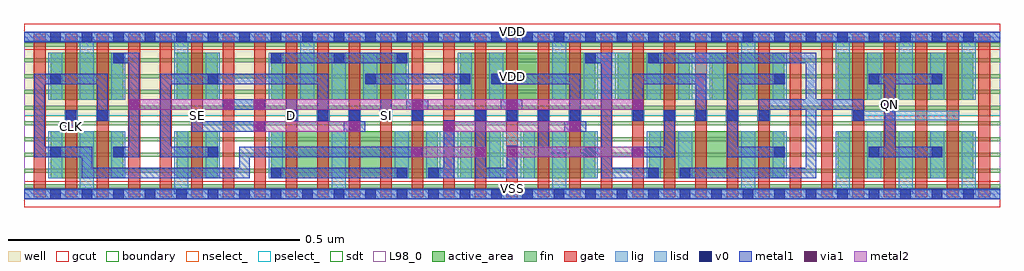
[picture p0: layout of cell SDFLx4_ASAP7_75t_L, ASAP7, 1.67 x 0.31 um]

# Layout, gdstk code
import gdstk
lib = gdstk.Library(unit=1e-6, precision=2.5e-10)
def R(c, l, rs):  # rectangles x0, y0, x1, y1
    for r in rs: c.add(gdstk.rectangle(r[:2], r[2:], *l))
def A(c, l, x, y, w, h, nx, ny, dx, dy):  # array of equal rectangles
    R(c, l, [(x+i*dx, y+j*dy, x+i*dx+w, y+j*dy+h) for i in range(nx) for j in range(ny)])
def P(c, l, *ps):  # polygons
    for p in ps: c.add(gdstk.Polygon(p, *l))
well = (1, 0)
fin = (2, 0)
gate = (7, 0)
gcut = (10, 0)
active_area = (11, 0)
nselect_ = (12, 0)
pselect_ = (13, 0)
lig = (16, 0)
lisd = (17, 0)
v0 = (18, 0)
metal1 = (19, 0)
metal2 = (20, 0)
via1 = (21, 0)
sdt = (88, 0)
L98_0 = (98, 0)
boundary = (100, 0)

sdflx4_asap7_75t_l = lib.new_cell('SDFLx4_ASAP7_75t_L')
R(sdflx4_asap7_75t_l, well, [(0,0.135,1.674,0.27)])
A(sdflx4_asap7_75t_l, fin, 0, 0.01, 1.674, 0.007, 1, 10, 0, 0.027)
A(sdflx4_asap7_75t_l, gate, 0.017, -0.005, 0.02, 0.28, 31, 1, 0.054, 0)
R(sdflx4_asap7_75t_l, gcut, [(0,-0.022,1.674,0.022), (0,0.248,1.674,0.292)])
R(sdflx4_asap7_75t_l, active_area, [(0.046,0.027,0.17,0.108), (0.262,0.027,0.332,0.108), (0.424,0.027,0.71,0.108), (0.748,0.027,0.818,0.108), (0.856,0.027,0.98,0.108), (1.072,0.027,1.304,0.108), (1.396,0.027,1.628,0.108), (0.046,0.162,0.17,0.243), (0.262,0.162,0.332,0.243), (0.424,0.162,0.656,0.243), (0.748,0.162,0.98,0.243), (1.018,0.162,1.142,0.243), (1.18,0.162,1.304,0.243), (1.396,0.162,1.628,0.243)])
R(sdflx4_asap7_75t_l, nselect_, [(0,0,1.674,0.135)])
R(sdflx4_asap7_75t_l, pselect_, [(0,0.135,1.674,0.27)])
A(sdflx4_asap7_75t_l, lig, 0.124, 0.126, 0.022, 0.018, 3, 1, 0.162, 0)
A(sdflx4_asap7_75t_l, lig, 0.502, 0.126, 0.022, 0.018, 4, 1, 0.054, 0)
A(sdflx4_asap7_75t_l, lig, 0.772, 0.126, 0.022, 0.018, 4, 1, 0.054, 0)
A(sdflx4_asap7_75t_l, lig, 1.042, 0.126, 0.022, 0.018, 5, 1, 0.054, 0)
R(sdflx4_asap7_75t_l, lig, [(0,-0.008,1.674,0.008), (0.07,0.126,0.092,0.144), (1.42,0.126,1.442,0.144), (1.42,0.127,1.604,0.143), (0,0.262,1.674,0.278)])
A(sdflx4_asap7_75t_l, lisd, 1.122, 0.027, 0.024, 0.081, 3, 1, 0.162, 0)
A(sdflx4_asap7_75t_l, lisd, 0.312, 0.162, 0.024, 0.081, 3, 1, 0.108, 0)
R(sdflx4_asap7_75t_l, lisd, [(0.096,0,0.12,0.108), (0.096,0,0.12,0.108), (0.258,0,0.282,0.108), (0.258,0,0.282,0.108), (0.528,0,0.552,0.108), (0.528,0,0.552,0.108), (0.906,0,0.93,0.108), (0.906,0,0.93,0.108), (1.23,0,1.254,0.108), (1.23,0,1.254,0.108), (1.392,0,1.416,0.108), (1.392,0,1.416,0.108), (1.5,0,1.524,0.108), (1.5,0,1.524,0.108), (1.608,0,1.632,0.108), (1.608,0,1.632,0.108), (0.042,0.027,0.066,0.108), (0.15,0.027,0.174,0.108), (0.312,0.027,0.336,0.108), (0.42,0.027,0.444,0.108), (0.636,0.027,0.66,0.108), (0.69,0.027,0.768,0.108), (0.69,0.027,0.714,0.108), (0.798,0.027,0.876,0.108), (0.96,0.027,0.984,0.108), (1.068,0.027,1.092,0.108), (1.554,0.027,1.578,0.108), (0.042,0.162,0.066,0.243), (0.096,0.162,0.12,0.27), (0.096,0.162,0.12,0.27), (0.15,0.162,0.174,0.243), (0.258,0.162,0.282,0.27), (0.258,0.162,0.282,0.27), (0.474,0.162,0.498,0.27), (0.474,0.162,0.498,0.27), (0.582,0.162,0.606,0.243), (0.636,0.162,0.66,0.243), (0.744,0.162,0.768,0.243), (0.798,0.162,0.822,0.243), (0.906,0.162,0.93,0.27), (0.906,0.162,0.93,0.27), (0.96,0.162,1.038,0.243), (0.96,0.162,0.984,0.243), (1.068,0.162,1.092,0.243), (1.122,0.162,1.2,0.243), (1.23,0.162,1.254,0.27), (1.23,0.162,1.254,0.27), (1.284,0.162,1.308,0.243), (1.392,0.162,1.416,0.27), (1.392,0.162,1.416,0.27), (1.446,0.162,1.47,0.243), (1.5,0.162,1.524,0.27), (1.5,0.162,1.524,0.27), (1.554,0.162,1.578,0.243), (1.608,0.162,1.632,0.27), (1.608,0.162,1.632,0.27)])
A(sdflx4_asap7_75t_l, v0, 0.045, -0.009, 0.018, 0.018, 30, 2, 0.054, 0.27)
A(sdflx4_asap7_75t_l, v0, 0.126, 0.126, 0.018, 0.018, 3, 1, 0.162, 0)
A(sdflx4_asap7_75t_l, v0, 0.504, 0.126, 0.018, 0.018, 4, 1, 0.054, 0)
A(sdflx4_asap7_75t_l, v0, 0.774, 0.126, 0.018, 0.018, 4, 1, 0.054, 0)
A(sdflx4_asap7_75t_l, v0, 1.044, 0.126, 0.018, 0.018, 5, 1, 0.054, 0)
A(sdflx4_asap7_75t_l, v0, 0.045, 0.189, 0.018, 0.018, 3, 1, 0.27, 0)
A(sdflx4_asap7_75t_l, v0, 0.423, 0.225, 0.018, 0.018, 3, 1, 0.108, 0)
R(sdflx4_asap7_75t_l, v0, [(0.423,0.027,0.441,0.045), (0.639,0.027,0.657,0.045), (0.693,0.027,0.711,0.045), (1.071,0.027,1.089,0.045), (1.125,0.027,1.143,0.045), (0.045,0.063,0.063,0.081), (0.153,0.063,0.171,0.081), (0.315,0.063,0.333,0.081), (0.963,0.063,0.981,0.081), (1.287,0.063,1.305,0.081), (1.449,0.063,1.467,0.081), (1.557,0.063,1.575,0.081), (0.072,0.126,0.09,0.144), (1.422,0.126,1.44,0.144), (0.747,0.189,0.765,0.207), (0.801,0.189,0.819,0.207), (1.287,0.189,1.305,0.207), (1.449,0.189,1.467,0.207), (1.557,0.189,1.575,0.207), (0.153,0.225,0.171,0.243), (0.963,0.225,0.981,0.243), (1.071,0.225,1.089,0.243)])
A(sdflx4_asap7_75t_l, metal1, 0.126, 0.126, 0.018, 0.018, 3, 1, 0.162, 0)
A(sdflx4_asap7_75t_l, metal1, 0.504, 0.126, 0.018, 0.018, 4, 1, 0.054, 0)
A(sdflx4_asap7_75t_l, metal1, 0.774, 0.126, 0.018, 0.018, 4, 1, 0.054, 0)
A(sdflx4_asap7_75t_l, metal1, 1.044, 0.126, 0.018, 0.018, 5, 1, 0.054, 0)
A(sdflx4_asap7_75t_l, metal1, 0.045, 0.189, 0.018, 0.018, 3, 1, 0.27, 0)
A(sdflx4_asap7_75t_l, metal1, 0.423, 0.225, 0.018, 0.018, 3, 1, 0.108, 0)
R(sdflx4_asap7_75t_l, metal1, [(0,-0.009,1.674,0.009), (0.423,0.027,0.441,0.045), (0.423,0.027,0.657,0.045), (0.639,0.027,0.657,0.045), (0.693,0.027,0.711,0.045), (1.071,0.027,1.089,0.045), (1.125,0.027,1.143,0.045), (0.045,0.063,0.063,0.081), (0.153,0.063,0.171,0.081), (0.315,0.063,0.333,0.081), (0.666,0.063,0.684,0.081), (0.774,0.063,0.792,0.081), (0.828,0.063,0.846,0.083), (0.963,0.063,0.981,0.081), (1.042,0.063,1.064,0.081), (1.287,0.063,1.305,0.081), (1.449,0.063,1.467,0.081), (1.557,0.063,1.575,0.081), (0.072,0.107,0.09,0.144), (0.396,0.107,0.414,0.125), (0.548,0.107,0.585,0.125), (0.558,0.107,0.576,0.144), (0.72,0.107,0.738,0.127), (0.927,0.107,0.964,0.125), (0.072,0.126,0.09,0.144), (0.45,0.126,0.468,0.163), (0.612,0.126,0.63,0.163), (0.666,0.126,0.684,0.163), (0.828,0.126,0.846,0.163), (1.422,0.126,1.44,0.144), (0.18,0.145,0.198,0.163), (0.34,0.145,0.362,0.163), (0.342,0.145,0.414,0.163), (0.396,0.145,0.414,0.163), (0.656,0.145,0.693,0.163), (0.818,0.145,0.855,0.163), (1.044,0.145,1.062,0.163), (0.585,0.189,0.765,0.207), (0.747,0.189,0.765,0.207), (0.801,0.189,0.819,0.207), (1.287,0.189,1.305,0.207), (1.449,0.189,1.467,0.207), (1.557,0.189,1.575,0.207), (0.153,0.225,0.171,0.243), (0.423,0.225,0.657,0.243), (0.963,0.225,0.981,0.243), (1.071,0.225,1.089,0.243), (0,0.261,1.674,0.279)])
P(sdflx4_asap7_75t_l, metal1, [(0.288,0.107),(0.288,0.144),(0.306,0.144),(0.306,0.125),(0.414,0.125),(0.414,0.107)],
  [(0.234,0.063),(0.234,0.207),(0.522,0.207),(0.522,0.126),(0.504,0.126),(0.504,0.189),(0.252,0.189),(0.252,0.081),(0.333,0.081),(0.333,0.063)],
  [(0.936,0.107),(0.936,0.189),(0.801,0.189),(0.801,0.207),(0.954,0.207),(0.954,0.107)],
  [(0.693,0.027),(0.693,0.045),(0.72,0.045),(0.72,0.125),(0.738,0.125),(0.738,0.027)],
  [(0.099,0.027),(0.099,0.063),(0.018,0.063),(0.018,0.207),(0.144,0.207),(0.144,0.126),(0.126,0.126),(0.126,0.189),(0.036,0.189),(0.036,0.081),(0.117,0.081),(0.117,0.045),(0.369,0.045),(0.369,0.081),(0.684,0.081),(0.684,0.063),(0.387,0.063),(0.387,0.027)],
  [(1.044,0.063),(1.044,0.081),(1.098,0.081),(1.098,0.144),(1.116,0.144),(1.116,0.063)],
  [(0.774,0.027),(0.774,0.144),(0.792,0.144),(0.792,0.045),(0.828,0.045),(0.828,0.081),(0.846,0.081),(0.846,0.027)],
  [(0.153,0.063),(0.153,0.081),(0.18,0.081),(0.18,0.225),(0.153,0.225),(0.153,0.243),(0.198,0.243),(0.198,0.063)],
  [(1.044,0.126),(1.044,0.207),(1.17,0.207),(1.17,0.126),(1.152,0.126),(1.152,0.189),(1.062,0.189),(1.062,0.126)],
  [(0.99,0.027),(0.99,0.063),(0.882,0.063),(0.882,0.144),(0.9,0.144),(0.9,0.081),(0.99,0.081),(0.99,0.225),(0.963,0.225),(0.963,0.243),(1.008,0.243),(1.008,0.045),(1.089,0.045),(1.089,0.027)],
  [(1.206,0.063),(1.206,0.207),(1.305,0.207),(1.305,0.189),(1.224,0.189),(1.224,0.081),(1.305,0.081),(1.305,0.063)],
  [(1.125,0.027),(1.125,0.045),(1.341,0.045),(1.341,0.145),(1.278,0.145),(1.278,0.126),(1.26,0.126),(1.26,0.163),(1.341,0.163),(1.341,0.225),(1.071,0.225),(1.071,0.243),(1.359,0.243),(1.359,0.163),(1.44,0.163),(1.44,0.126),(1.422,0.126),(1.422,0.145),(1.359,0.145),(1.359,0.027)],
  [(1.449,0.063),(1.449,0.081),(1.476,0.081),(1.476,0.189),(1.449,0.189),(1.449,0.207),(1.575,0.207),(1.575,0.189),(1.494,0.189),(1.494,0.081),(1.575,0.081),(1.575,0.063)])
R(sdflx4_asap7_75t_l, metal2, [(0.664,0.063,0.792,0.081), (0.828,0.063,1.062,0.081), (0.394,0.107,0.576,0.125), (0.72,0.107,0.954,0.125), (0.18,0.145,0.36,0.163), (0.394,0.145,1.062,0.163)])
R(sdflx4_asap7_75t_l, via1, [(0.664,0.063,0.682,0.081), (0.774,0.063,0.792,0.081), (0.828,0.063,0.846,0.081), (1.044,0.063,1.062,0.081), (0.394,0.107,0.412,0.125), (0.558,0.107,0.576,0.125), (0.72,0.107,0.738,0.125), (0.936,0.107,0.954,0.125), (0.18,0.145,0.198,0.163), (0.342,0.145,0.36,0.163), (0.394,0.145,0.412,0.163), (0.666,0.145,0.684,0.163), (0.828,0.145,0.846,0.163), (1.044,0.145,1.062,0.163)])
A(sdflx4_asap7_75t_l, sdt, 0.312, 0.027, 0.024, 0.081, 3, 1, 0.108, 0)
A(sdflx4_asap7_75t_l, sdt, 0.69, 0.027, 0.024, 0.081, 5, 1, 0.054, 0)
A(sdflx4_asap7_75t_l, sdt, 1.392, 0.027, 0.024, 0.081, 3, 2, 0.054, 0.135)
A(sdflx4_asap7_75t_l, sdt, 1.5, 0.027, 0.024, 0.081, 3, 2, 0.054, 0.135)
A(sdflx4_asap7_75t_l, sdt, 0.474, 0.162, 0.024, 0.081, 4, 1, 0.054, 0)
A(sdflx4_asap7_75t_l, sdt, 0.96, 0.162, 0.024, 0.081, 6, 1, 0.054, 0)
R(sdflx4_asap7_75t_l, sdt, [(0.042,0.027,0.066,0.108), (0.096,0.027,0.12,0.108), (0.096,0.027,0.12,0.108), (0.15,0.027,0.174,0.108), (0.258,0.027,0.282,0.108), (0.258,0.027,0.282,0.108), (0.528,0.027,0.552,0.108), (0.636,0.027,0.66,0.108), (0.69,0.027,0.714,0.108), (0.906,0.027,0.93,0.108), (0.96,0.027,0.984,0.108), (1.068,0.027,1.092,0.108), (1.122,0.027,1.146,0.108), (1.23,0.027,1.254,0.108), (1.23,0.027,1.254,0.108), (1.284,0.027,1.308,0.108), (1.392,0.027,1.416,0.108), (1.608,0.027,1.632,0.108), (0.042,0.162,0.066,0.243), (0.096,0.162,0.12,0.243), (0.096,0.162,0.12,0.243), (0.15,0.162,0.174,0.243), (0.258,0.162,0.282,0.243), (0.258,0.162,0.282,0.243), (0.312,0.162,0.336,0.243), (0.42,0.162,0.444,0.243), (0.474,0.162,0.498,0.243), (0.744,0.162,0.768,0.243), (0.798,0.162,0.822,0.243), (0.906,0.162,0.93,0.243), (0.906,0.162,0.93,0.243), (0.96,0.162,0.984,0.243), (1.23,0.162,1.254,0.243), (1.284,0.162,1.308,0.243), (1.392,0.162,1.416,0.243), (1.608,0.162,1.632,0.243)])
R(sdflx4_asap7_75t_l, L98_0, [(0,0,1.674,0.27)])
R(sdflx4_asap7_75t_l, boundary, [(0,0,1.674,0.27)])
sdflx4_asap7_75t_l.add(gdstk.Label('VDD', (0.837,0.2025), layer=1, texttype=251))
sdflx4_asap7_75t_l.add(gdstk.Label('VSS', (0.837,-0.0675), layer=3, texttype=251))
sdflx4_asap7_75t_l.add(gdstk.Label('VSS', (0.837,0.009), layer=19, texttype=251))
sdflx4_asap7_75t_l.add(gdstk.Label('VDD', (0.837,0.279), layer=19, texttype=251))
sdflx4_asap7_75t_l.add(gdstk.Label('CLK', (0.081,0.116), layer=19, texttype=251))
sdflx4_asap7_75t_l.add(gdstk.Label('SE', (0.297,0.135), layer=19, texttype=251))
sdflx4_asap7_75t_l.add(gdstk.Label('SI', (0.621,0.135), layer=19, texttype=251))
sdflx4_asap7_75t_l.add(gdstk.Label('D', (0.459,0.135), layer=19, texttype=251))
sdflx4_asap7_75t_l.add(gdstk.Label('QN', (1.485,0.154), layer=19, texttype=251))

lib.write_gds('SDFLx4_ASAP7_75t_L.gds')
